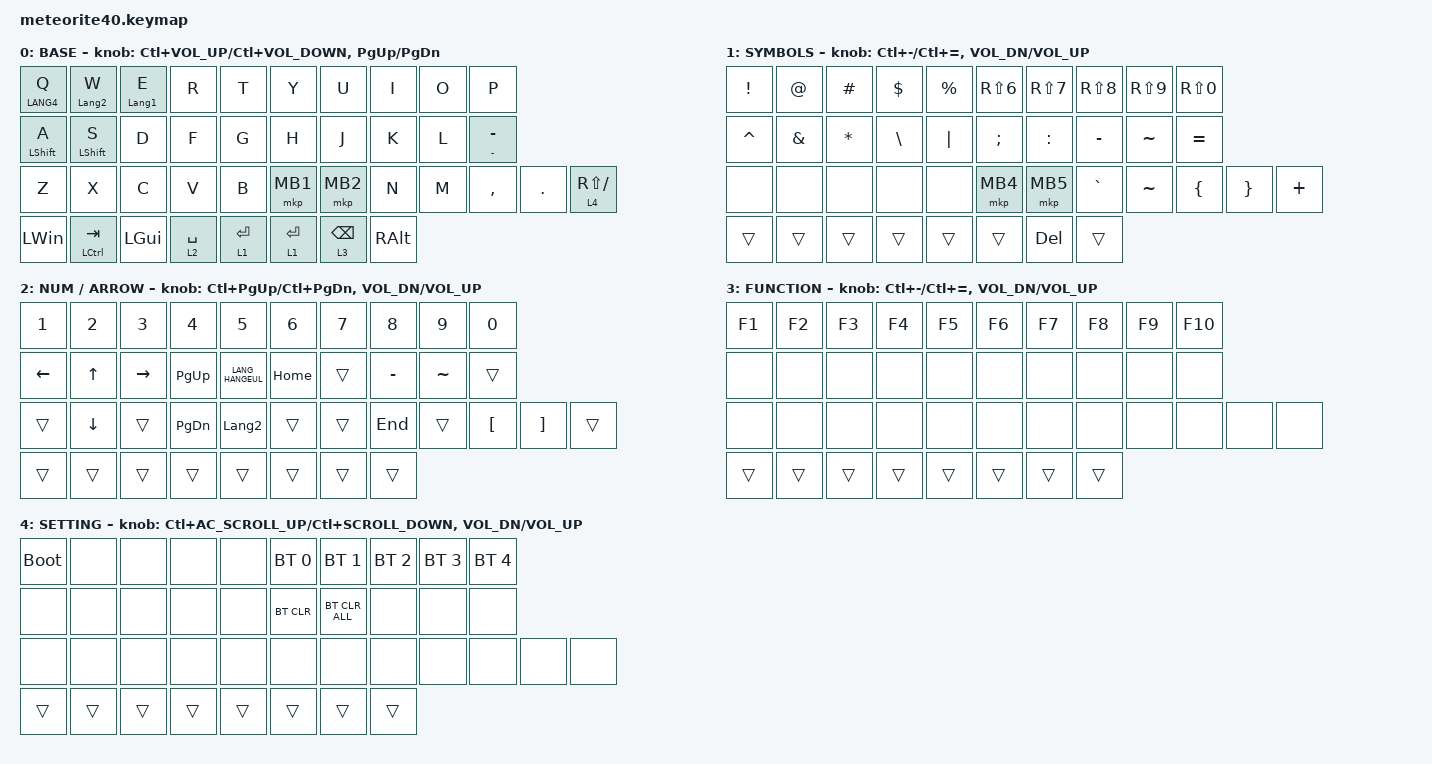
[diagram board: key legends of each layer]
#include <behaviors.dtsi>
#include <dt-bindings/zmk/bt.h>
#include <dt-bindings/zmk/keys.h>
#include <dt-bindings/zmk/pointing.h>

&mt {
    flavor = "tap-preferred"; // change hold to tap
    tapping-term-ms = <200>;
    quick-tap-ms = <150>; // change 200 to 150
};

&lt {
    flavor = "tap-preferred";
    tapping-term-ms = <150>; // change 200 to 150
    quick-tap-ms = <150>; // change 200 to 150
};

/ {
    combos {
        compatible = "zmk,combos";

        lang1 {
            bindings = <&kp LANG1>;
            key-positions = <12 13>; /* D + F */
            layers = <0>;
        };

        lang2 {
            bindings = <&kp LANG2>;
            key-positions = <16 17>; /* J + K */
            layers = <0>;
        };

        esc {
            bindings = <&kp ESCAPE>;
            key-positions = <20 21>; /* Z + X */
            layers = <0>;
        };

        tab {
            bindings = <&kp TAB>;
            key-positions = <0 1>; /* Q + W */
            layers = <0>;
        };

        home {
            bindings = <&kp HOME>;
            key-positions = <16 17>; /* J + K (on layer 2) */
            layers = <2>;
        };

        end {
            bindings = <&kp END>;
            key-positions = <18 19>; /* L + - (on layer 2) */
            layers = <2>;
        };

        ctrl_home {
            bindings = <&kp LC(HOME)>;
            key-positions = <16 18>; /* J + L (on layer 2) */
            layers = <2>;
        };

        ctrl_end {
            bindings = <&kp LC(END)>;
            key-positions = <17 19>; /* K + - (on layer 2) */
            layers = <2>;
        };
    };

    keymap {
        compatible = "zmk,keymap";
        layout = &LAYOUT_2U_SPACE;

        win_default_layer {
            display-name = "BASE";
            bindings = <
&mt LANG4 Q   &mt LANGUAGE_2 W  &mt LANGUAGE_1 E  &kp R        &kp T        &kp Y        &kp U       &kp I     &kp O  &kp P
&mt LSHIFT A  &mt LEFT_SHIFT S  &kp D             &kp F        &kp G        &kp H        &kp J       &kp K     &kp L  &mt MINUS MINUS
&kp Z         &kp X             &kp C             &kp V        &kp B        &mkp MB1     &mkp MB2    &kp N     &kp M  &kp COMMA        &kp DOT  &lt 4 RS(SLASH)
&kp LWIN      &mt LCTRL TAB     &kp LEFT_GUI      &lt 2 SPACE  &lt 1 ENTER  &lt 1 ENTER  &lt 3 BSPC  &kp RALT
            >;

            sensor-bindings =
                <&inc_dec_kp LC(C_VOLUME_UP) LC(C_VOLUME_DOWN)>,
                <&inc_dec_kp PAGE_UP PAGE_DOWN>;

            // RE1: volume down/up
        };

        layer_1 {
            display-name = "SYMBOLS";
            bindings = <
&kp EXCL   &kp AT    &kp HASH  &kp DLLR  &kp PRCNT  &kp RS(NUMBER_6)  &kp RS(N7)  &kp RS(N8)  &kp RS(N9)  &kp RS(N0)
&kp CARET  &kp AMPS  &kp STAR  &kp BSLH  &kp PIPE   &kp SEMI          &kp COLON   &kp MINUS   &kp TILDE   &kp EQUAL
&none      &none     &none     &none     &none      &mkp MB4          &mkp MB5    &kp GRAVE   &kp TILDE   &kp LBRC    &kp RBRC  &kp PLUS
&trans     &trans    &trans    &trans    &trans     &trans            &kp DEL     &trans
            >;

            sensor-bindings =
                <&inc_dec_kp LC(MINUS) LC(EQUAL)>,
                // RE0: ctrl + - / +,,,,,,,,,,,,,,,,
                <&inc_dec_kp C_VOL_DN C_VOL_UP>;

            // RE1: volume down/up
        };

        layer_2 {
            display-name = "NUM / ARROW";
            bindings = <
&kp NUMBER_1    &kp NUMBER_2  &kp NUMBER_3  &kp NUMBER_4   &kp N5            &kp NUMBER_6  &kp N7  &kp N8     &kp N9     &kp N0
&kp LEFT_ARROW  &kp UP_ARROW  &kp RIGHT     &kp PAGE_UP    &kp LANG_HANGEUL  &kp HOME      &trans  &kp MINUS  &kp TILDE  &trans
&trans          &kp DOWN      &trans        &kp PAGE_DOWN  &kp LANGUAGE_2    &trans        &trans  &kp END    &trans     &kp LBKT  &kp RIGHT_BRACKET  &trans
&trans          &trans        &trans        &trans         &trans            &trans        &trans  &trans
            >;

            sensor-bindings =
                <&inc_dec_kp LC(PAGE_UP) LC(PAGE_DOWN)>,
                <&inc_dec_kp C_VOL_DN C_VOL_UP>;

            // RE1: volume down/up
        };

        layer_3 {
            display-name = "FUNCTION";
            bindings = <
&kp F1  &kp F2  &kp F3  &kp F4  &kp F5  &kp F6  &kp F7  &kp F8  &kp F9  &kp F10
&none   &none   &none   &none   &none   &none   &none   &none   &none   &none
&none   &none   &none   &none   &none   &none   &none   &none   &none   &none    &none  &none
&trans  &trans  &trans  &trans  &trans  &trans  &trans  &trans
            >;

            sensor-bindings =
                <&inc_dec_kp LC(MINUS) LC(EQUAL)>,
                // RE0: ctrl + - / +,,,,,,,,,,,,,,,,
                <&inc_dec_kp C_VOL_DN C_VOL_UP>;

            // RE1: volume down/up
        };

        layer_4 {
            display-name = "SETTING";
            bindings = <
&bootloader  &none   &none   &none   &none   &bt BT_SEL 0  &bt BT_SEL 1    &bt BT_SEL 2  &bt BT_SEL 3  &bt BT_SEL 4
&none        &none   &none   &none   &none   &bt BT_CLR    &bt BT_CLR_ALL  &none         &none         &none
&none        &none   &none   &none   &none   &none         &none           &none         &none         &none         &none  &none
&trans       &trans  &trans  &trans  &trans  &trans        &trans          &trans
            >;

            sensor-bindings =
                <&inc_dec_kp LC(C_AC_SCROLL_UP) LC(K_SCROLL_DOWN)>,
                <&inc_dec_kp C_VOL_DN C_VOL_UP>;

            // RE1: volume down/up
        };
    };
};
